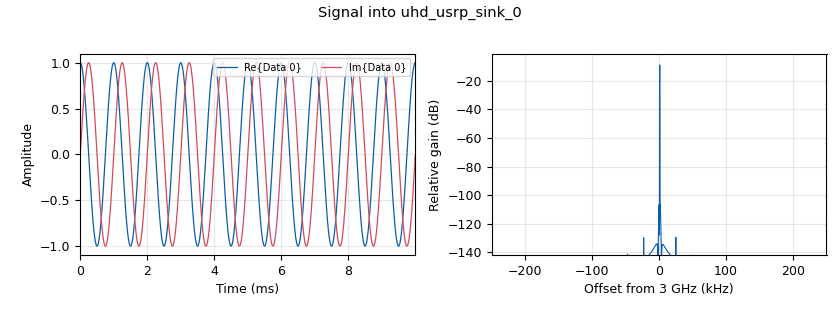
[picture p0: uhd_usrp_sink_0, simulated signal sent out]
options:
  parameters:
    author: jtang
    generate_options: qt_gui
    id: debug_n210_ref_source
    output_language: python
    title: Not titled yet
  states: {}

blocks:
- name: freq
  id: variable
  parameters:
    value: 1e3
  states: {}
- name: samp_rate
  id: variable
  parameters:
    value: 500e3
  states: {}
- name: analog_sig_source_x_0
  id: analog_sig_source_x
  parameters:
    amp: '1'
    freq: freq
    offset: '0'
    phase: '0'
    samp_rate: samp_rate
    type: complex
    waveform: analog.GR_COS_WAVE
  states: {}
- name: qtgui_freq_sink_x_0
  id: qtgui_freq_sink_x
  parameters:
    bw: samp_rate
    fc: '0'
    fftsize: '256'
    label1: Transmit
    label2: Receive
    nconnections: '2'
    type: complex
  states: {}
- name: uhd_usrp_sink_0
  id: uhd_usrp_sink
  parameters:
    ant0: '"TX/RX"'
    center_freq0: 3e9
    clock_source0: external
    dev_addr: '"addr=192.168.10.5"'
    gain0: '10'
    samp_rate: samp_rate
    sync: sync
    type: fc32
  states: {}
- name: uhd_usrp_source_0
  id: uhd_usrp_source
  parameters:
    ant0: '"RX2"'
    center_freq0: 3e9
    dev_addr: '"addr=192.168.110.2"'
    gain0: '10'
    samp_rate: 500e3
    stream_chans: '0'
    sync: sync
    type: fc32
  states: {}

connections:
- [analog_sig_source_x_0, '0', qtgui_freq_sink_x_0, '0']
- [analog_sig_source_x_0, '0', uhd_usrp_sink_0, '0']
- [uhd_usrp_source_0, '0', qtgui_freq_sink_x_0, '1']

metadata:
  file_format: 1
  grc_version: 3.10.6.0
